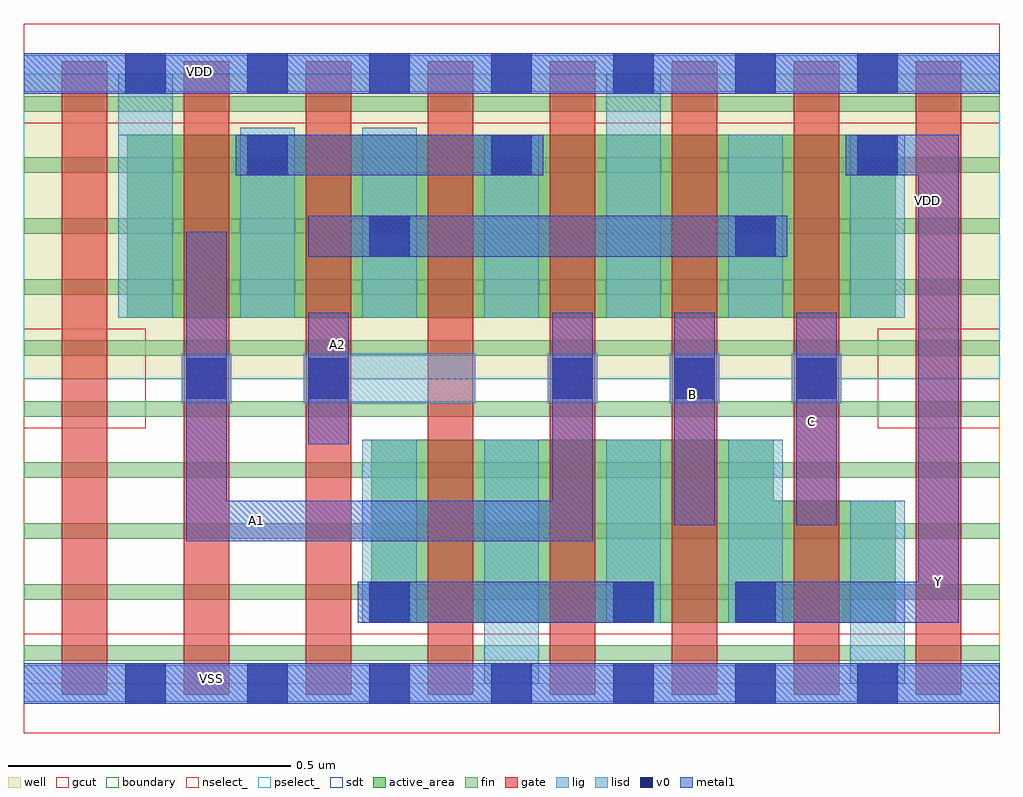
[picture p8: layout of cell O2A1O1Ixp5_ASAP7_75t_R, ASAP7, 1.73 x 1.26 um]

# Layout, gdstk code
import gdstk
lib = gdstk.Library(unit=1e-6, precision=2.5e-10)
def R(c, l, rs):  # rectangles x0, y0, x1, y1
    for r in rs: c.add(gdstk.rectangle(r[:2], r[2:], *l))
def A(c, l, x, y, w, h, nx, ny, dx, dy):  # array of equal rectangles
    R(c, l, [(x+i*dx, y+j*dy, x+i*dx+w, y+j*dy+h) for i in range(nx) for j in range(ny)])
def P(c, l, *ps):  # polygons
    for p in ps: c.add(gdstk.Polygon(p, *l))
well = (1, 0)
fin = (2, 0)
gate = (7, 0)
gcut = (10, 0)
active_area = (11, 0)
nselect_ = (12, 0)
pselect_ = (13, 0)
lig = (16, 0)
lisd = (17, 0)
v0 = (18, 0)
metal1 = (19, 0)
sdt = (88, 0)
boundary = (100, 0)

o2a1o1ixp5_asap7_75t_r = lib.new_cell('O2A1O1Ixp5_ASAP7_75t_R')
R(o2a1o1ixp5_asap7_75t_r, well, [(0,0.54,1.728,1.08)])
A(o2a1o1ixp5_asap7_75t_r, fin, 0, 0.04, 1.728, 0.028, 1, 10, 0, 0.108)
A(o2a1o1ixp5_asap7_75t_r, gate, 0.068, -0.02, 0.08, 1.122, 8, 1, 0.216, 0)
R(o2a1o1ixp5_asap7_75t_r, gcut, [(0,-0.088,1.728,0.088), (0,0.452,0.216,0.628), (1.512,0.452,1.728,0.628), (0,0.992,1.728,1.168)])
R(o2a1o1ixp5_asap7_75t_r, active_area, [(0.184,0.648,1.544,0.972)])
P(o2a1o1ixp5_asap7_75t_r, active_area, [(0.616,0.108),(0.616,0.432),(1.328,0.432),(1.328,0.324),(1.544,0.324),(1.544,0.108)])
R(o2a1o1ixp5_asap7_75t_r, nselect_, [(0,0,1.728,0.54)])
R(o2a1o1ixp5_asap7_75t_r, pselect_, [(0,0.54,1.728,1.08)])
A(o2a1o1ixp5_asap7_75t_r, lig, 0.928, 0.496, 0.088, 0.088, 3, 1, 0.216, 0)
R(o2a1o1ixp5_asap7_75t_r, lig, [(0,-0.032,1.728,0.032), (0.28,0.496,0.368,0.584), (0.496,0.496,0.8,0.584), (0,1.048,1.728,1.112)])
R(o2a1o1ixp5_asap7_75t_r, lisd, [(0.816,0,0.912,0.432), (1.464,0,1.56,0.324), (0.6,0.108,0.696,0.432), (1.032,0.108,1.128,0.432), (1.248,0.108,1.344,0.432), (0.168,0.648,0.264,1.08), (0.384,0.648,0.48,0.984), (0.6,0.648,0.696,0.984), (0.816,0.648,0.912,0.972), (1.032,0.648,1.128,1.08), (1.248,0.648,1.344,0.972), (1.464,0.648,1.56,0.972)])
A(o2a1o1ixp5_asap7_75t_r, v0, 0.18, -0.036, 0.072, 0.072, 7, 2, 0.216, 1.08)
A(o2a1o1ixp5_asap7_75t_r, v0, 0.936, 0.504, 0.072, 0.072, 3, 1, 0.216, 0)
R(o2a1o1ixp5_asap7_75t_r, v0, [(0.612,0.108,0.684,0.18), (1.044,0.108,1.116,0.18), (1.26,0.108,1.332,0.18), (0.288,0.504,0.36,0.576), (0.504,0.504,0.576,0.576), (0.612,0.756,0.684,0.828), (1.26,0.756,1.332,0.828), (0.396,0.9,0.468,0.972), (0.828,0.9,0.9,0.972), (1.476,0.9,1.548,0.972)])
R(o2a1o1ixp5_asap7_75t_r, metal1, [(0,-0.036,1.728,0.036), (0.592,0.108,1.116,0.18), (1.152,0.28,1.224,0.656), (1.368,0.28,1.44,0.656), (0.504,0.424,0.576,0.656), (0.504,0.756,1.352,0.828), (0.376,0.9,0.92,0.972), (0,1.044,1.728,1.116)])
P(o2a1o1ixp5_asap7_75t_r, metal1, [(1.26,0.108),(1.26,0.18),(1.584,0.18),(1.584,0.9),(1.456,0.9),(1.456,0.972),(1.656,0.972),(1.656,0.108)],
  [(0.288,0.252),(0.288,0.8),(0.36,0.8),(0.36,0.324),(0.936,0.324),(0.936,0.656),(1.008,0.656),(1.008,0.252)])
A(o2a1o1ixp5_asap7_75t_r, sdt, 0.6, 0.108, 0.096, 0.324, 4, 1, 0.216, 0)
A(o2a1o1ixp5_asap7_75t_r, sdt, 0.168, 0.648, 0.096, 0.324, 7, 1, 0.216, 0)
R(o2a1o1ixp5_asap7_75t_r, sdt, [(1.464,0.108,1.56,0.324)])
R(o2a1o1ixp5_asap7_75t_r, boundary, [(0,0,1.728,1.08)])
o2a1o1ixp5_asap7_75t_r.add(gdstk.Label('VSS', (0.332,0.008), layer=19, texttype=251))
o2a1o1ixp5_asap7_75t_r.add(gdstk.Label('Y', (1.62,0.18), layer=19, texttype=251))
o2a1o1ixp5_asap7_75t_r.add(gdstk.Label('C', (1.396,0.464), layer=19, texttype=251))
o2a1o1ixp5_asap7_75t_r.add(gdstk.Label('B', (1.184,0.512), layer=19, texttype=251))
o2a1o1ixp5_asap7_75t_r.add(gdstk.Label('A2', (0.556,0.6), layer=19, texttype=251))
o2a1o1ixp5_asap7_75t_r.add(gdstk.Label('A1', (0.412,0.288), layer=19, texttype=251))
o2a1o1ixp5_asap7_75t_r.add(gdstk.Label('VDD', (0.312,1.084), layer=19, texttype=251))
o2a1o1ixp5_asap7_75t_r.add(gdstk.Label('VDD', (1.6,0.856), layer=1, texttype=251))
o2a1o1ixp5_asap7_75t_r.add(gdstk.Label('VSS', (1.876,0.852), layer=3, texttype=251))

lib.write_gds('O2A1O1Ixp5_ASAP7_75t_R.gds')
